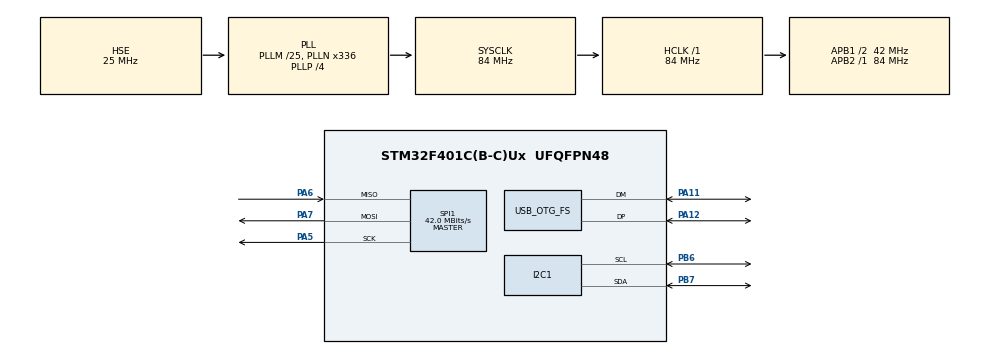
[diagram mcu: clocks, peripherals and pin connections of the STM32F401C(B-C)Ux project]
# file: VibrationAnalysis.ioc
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Dma.I2C1_RX.0.Direction=DMA_PERIPH_TO_MEMORY
Dma.I2C1_RX.0.FIFOMode=DMA_FIFOMODE_DISABLE
Dma.I2C1_RX.0.Instance=DMA1_Stream0
Dma.I2C1_RX.0.MemDataAlignment=DMA_MDATAALIGN_BYTE
Dma.I2C1_RX.0.MemInc=DMA_MINC_ENABLE
Dma.I2C1_RX.0.Mode=DMA_CIRCULAR
Dma.I2C1_RX.0.PeriphDataAlignment=DMA_PDATAALIGN_BYTE
Dma.I2C1_RX.0.PeriphInc=DMA_PINC_DISABLE
Dma.I2C1_RX.0.Priority=DMA_PRIORITY_LOW
Dma.I2C1_TX.2.Direction=DMA_MEMORY_TO_PERIPH
Dma.I2C1_TX.2.FIFOMode=DMA_FIFOMODE_DISABLE
Dma.I2C1_TX.2.Instance=DMA1_Stream6
Dma.I2C1_TX.2.MemDataAlignment=DMA_MDATAALIGN_BYTE
Dma.I2C1_TX.2.MemInc=DMA_MINC_ENABLE
Dma.I2C1_TX.2.Mode=DMA_NORMAL
Dma.I2C1_TX.2.PeriphDataAlignment=DMA_PDATAALIGN_BYTE
Dma.I2C1_TX.2.PeriphInc=DMA_PINC_DISABLE
Dma.I2C1_TX.2.Priority=DMA_PRIORITY_LOW
Dma.Request0=I2C1_RX
Dma.Request1=SPI1_RX
Dma.Request2=I2C1_TX
Dma.SPI1_RX.1.Direction=DMA_PERIPH_TO_MEMORY
Dma.SPI1_RX.1.FIFOMode=DMA_FIFOMODE_DISABLE
Dma.SPI1_RX.1.Instance=DMA2_Stream0
Dma.SPI1_RX.1.MemDataAlignment=DMA_MDATAALIGN_BYTE
Dma.SPI1_RX.1.MemInc=DMA_MINC_ENABLE
Dma.SPI1_RX.1.Mode=DMA_NORMAL
Dma.SPI1_RX.1.PeriphDataAlignment=DMA_PDATAALIGN_BYTE
Dma.SPI1_RX.1.PeriphInc=DMA_PINC_DISABLE
Dma.SPI1_RX.1.Priority=DMA_PRIORITY_LOW
I2C1.I2C_Mode=I2C_Fast
Mcu.Family=STM32F4
Mcu.Name=STM32F401C(B-C)Ux
Mcu.Package=UFQFPN48
NVIC.DMA1_Stream0_IRQn=true\:0\:0\:false\:false\:true\:false\:true
NVIC.DMA1_Stream6_IRQn=true\:0\:0\:false\:false\:true\:false\:true
NVIC.DMA2_Stream0_IRQn=true\:0\:0\:false\:false\:true\:false\:true
NVIC.I2C1_EV_IRQn=true\:0\:0\:false\:false\:true\:true\:true
NVIC.OTG_FS_IRQn=true\:0\:0\:false\:false\:true\:false\:true
NVIC.PriorityGroup=NVIC_PRIORITYGROUP_4
NVIC.TIM1_UP_TIM10_IRQn=true\:0\:0\:false\:false\:true\:true\:true
PA11.Mode=Device_Only
PA11.Signal=USB_OTG_FS_DM
PA12.Mode=Device_Only
PA12.Signal=USB_OTG_FS_DP
PA5.Mode=Full_Duplex_Master
PA5.Signal=SPI1_SCK
PA6.Mode=Full_Duplex_Master
PA6.Signal=SPI1_MISO
PA7.Mode=Full_Duplex_Master
PA7.Signal=SPI1_MOSI
PB6.Mode=I2C
PB6.Signal=I2C1_SCL
PB7.Mode=I2C
PB7.Signal=I2C1_SDA
PH0\ -\ OSC_IN.Mode=HSE-External-Oscillator
PH0\ -\ OSC_IN.Signal=RCC_OSC_IN
PH1\ -\ OSC_OUT.Mode=HSE-External-Oscillator
PH1\ -\ OSC_OUT.Signal=RCC_OSC_OUT
ProjectManager.HeapSize=0x1000
ProjectManager.StackSize=0x500
ProjectManager.TargetToolchain=STM32CubeIDE
RCC.48MHZClocksFreq_Value=48000000
RCC.AHBFreq_Value=84000000
RCC.APB1CLKDivider=RCC_HCLK_DIV2
RCC.APB1Freq_Value=42000000
RCC.APB1TimFreq_Value=84000000
RCC.APB2Freq_Value=84000000
RCC.APB2TimFreq_Value=84000000
RCC.CortexFreq_Value=84000000
RCC.HCLKFreq_Value=84000000
RCC.HSE_VALUE=25000000
RCC.HSI_VALUE=16000000
RCC.LSE_VALUE=32768
RCC.PLLM=25
RCC.PLLN=336
RCC.PLLP=RCC_PLLP_DIV4
RCC.PLLQ=7
RCC.SYSCLKFreq_VALUE=84000000
RCC.SYSCLKSource=RCC_SYSCLKSOURCE_PLLCLK
RCC.VCOOutputFreq_Value=336000000
SPI1.CalculateBaudRate=42.0 MBits/s
SPI1.Direction=SPI_DIRECTION_2LINES
SPI1.Mode=SPI_MODE_MASTER
SPI1.VirtualType=VM_MASTER
TIM1.Period=999
TIM1.Prescaler=84
USB_DEVICE.CLASS_NAME_FS=CDC
USB_DEVICE.LANGID_STRING=1031
USB_DEVICE.VirtualMode=Cdc
USB_DEVICE.VirtualModeFS=Cdc_FS
USB_OTG_FS.VirtualMode=Device_Only
VP_TIM1_VS_ClockSourceINT.Mode=Internal
VP_USB_DEVICE_VS_USB_DEVICE_CDC_FS.Mode=CDC_FS
board=custom

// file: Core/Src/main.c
/* USER CODE BEGIN Header */
/**
  ******************************************************************************
  * @file           : main.c
  * @brief          : Main program body
  ******************************************************************************
  * @attention
  *
  * <h2><center>&copy; Copyright (c) 2020 STMicroelectronics.
  * All rights reserved.</center></h2>
  *
  * This software component is licensed by ST under BSD 3-Clause license,
  * the "License"; You may not use this file except in compliance with the
  * License. You may obtain a copy of the License at:
  *                        opensource.org/licenses/BSD-3-Clause
  *
  ******************************************************************************
  */
/* USER CODE END Header */
#include "main.h"
#include "dma.h"
#include "i2c.h"
#include "spi.h"
#include "tim.h"
#include "usb_device.h"
#include "gpio.h"

/* USER CODE BEGIN Includes */
#include "lsm6ds3.h"
/* USER CODE END Includes */

/* USER CODE BEGIN PV */
uint8_t string[] = "Hello World!\n\r";
char buffer[50];
uint16_t data[2000];
uint16_t recdata[12];
uint16_t lsmaddr = LSM6DS3_ADDRESS << 1;
int16_t x_val;
int16_t y_val;
int16_t z_val;
int n;
/* USER CODE END PV */

void SystemClock_Config(void);

int main(void)
{

  /* MCU Configuration--------------------------------------------------------*/

  /* Reset of all peripherals, Initializes the Flash interface and the Systick. */
  HAL_Init();

  /* Configure the system clock */
  SystemClock_Config();

  /* Initialize all configured peripherals */
  MX_GPIO_Init();
  MX_DMA_Init();
  MX_I2C1_Init();
  MX_TIM1_Init();
  MX_USB_DEVICE_Init();
  MX_SPI1_Init();
  /* USER CODE BEGIN 2 */
  //HAL_Delay(5000);
  //HAL_I2C_Mem_Write(&hi2c1, lsmaddr, (uint16_t) 0x12, I2C_MEMADD_SIZE_8BIT, 0b00000100, 1, HAL_MAX_DELAY);
  HAL_I2C_Mem_Write(&hi2c1, lsmaddr, (uint16_t) LSM6DS3_CTRL1_XL, I2C_MEMADD_SIZE_8BIT, 0b10100000, 1, HAL_MAX_DELAY);
  HAL_Delay(100);
  /* USER CODE END 2 */

  /* Infinite loop */
  /* USER CODE BEGIN WHILE */
  while (1)
  {
	 /* HAL_I2C_Mem_Read(&hi2c1, lsmaddr, (uint16_t) LSM6DS3_OUTX_L_XL, I2C_MEMADD_SIZE_8BIT, &recdata, 1, HAL_MAX_DELAY);
	  x_val = (recdata[0] & 0xFF);
	  HAL_I2C_Mem_Read(&hi2c1, lsmaddr, (uint16_t) LSM6DS3_OUTX_H_XL, I2C_MEMADD_SIZE_8BIT, &recdata, 1, HAL_MAX_DELAY);
	  x_val = (recdata[0] << 8) | x_val;
	  HAL_I2C_Mem_Read(&hi2c1, lsmaddr, (uint16_t) LSM6DS3_OUTY_L_XL, I2C_MEMADD_SIZE_8BIT, &recdata, 1, HAL_MAX_DELAY);
	  y_val = (recdata[0] & 0xFF);
	  HAL_I2C_Mem_Read(&hi2c1, lsmaddr, (uint16_t) LSM6DS3_OUTY_H_XL, I2C_MEMADD_SIZE_8BIT, &recdata, 1, HAL_MAX_DELAY);
	  y_val = (recdata[0] << 8) | y_val;
	  HAL_I2C_Mem_Read(&hi2c1, lsmaddr, (uint16_t) LSM6DS3_OUTZ_L_XL, I2C_MEMADD_SIZE_8BIT, &recdata, 1, HAL_MAX_DELAY);
	  z_val = (recdata[0] & 0xFF);
	  HAL_I2C_Mem_Read(&hi2c1, lsmaddr, (uint16_t) LSM6DS3_OUTZ_H_XL, I2C_MEMADD_SIZE_8BIT, &recdata, 1, HAL_MAX_DELAY);
	  z_val = (recdata[0] << 8) | z_val;
	  n = sprintf(buffer, "individual: %d, %d, %d\n",x_val,y_val,z_val);
	  CDC_Transmit_FS(buffer, n);
	  HAL_Delay(300); */
	  HAL_I2C_Mem_Read(&hi2c1, lsmaddr, (uint16_t) LSM6DS3_OUTX_L_XL, I2C_MEMADD_SIZE_8BIT, &recdata, 6, HAL_MAX_DELAY);
	  x_val = (recdata[0] & 0xFF ) | ((recdata[1] << 8));
	  y_val = (recdata[2] & 0xFF ) | ((recdata[3] << 8));
	  z_val = (recdata[4] & 0xFF ) | ((recdata[5] << 8));
	  n = sprintf(buffer, "bulk: %d, %d, %d\n",x_val,y_val,z_val);
	  CDC_Transmit_FS(buffer, n);
	  HAL_Delay(300);
    /* USER CODE END WHILE */

  }
}

void SystemClock_Config(void)
{
  RCC_OscInitTypeDef RCC_OscInitStruct = {0};
  RCC_ClkInitTypeDef RCC_ClkInitStruct = {0};

  /** Configure the main internal regulator output voltage
  */
  __HAL_RCC_PWR_CLK_ENABLE();
  __HAL_PWR_VOLTAGESCALING_CONFIG(PWR_REGULATOR_VOLTAGE_SCALE2);
  /** Initializes the RCC Oscillators according to the specified parameters
  * in the RCC_OscInitTypeDef structure.
  */
  RCC_OscInitStruct.OscillatorType = RCC_OSCILLATORTYPE_HSE;
  RCC_OscInitStruct.HSEState = RCC_HSE_ON;
  RCC_OscInitStruct.PLL.PLLState = RCC_PLL_ON;
  RCC_OscInitStruct.PLL.PLLSource = RCC_PLLSOURCE_HSE;
  RCC_OscInitStruct.PLL.PLLM = 25;
  RCC_OscInitStruct.PLL.PLLN = 336;
  RCC_OscInitStruct.PLL.PLLP = RCC_PLLP_DIV4;
  RCC_OscInitStruct.PLL.PLLQ = 7;
  if (HAL_RCC_OscConfig(&RCC_OscInitStruct) != HAL_OK)
  {
    Error_Handler();
  }
  /** Initializes the CPU, AHB and APB buses clocks
  */
  RCC_ClkInitStruct.ClockType = RCC_CLOCKTYPE_HCLK|RCC_CLOCKTYPE_SYSCLK
                              |RCC_CLOCKTYPE_PCLK1|RCC_CLOCKTYPE_PCLK2;
  RCC_ClkInitStruct.SYSCLKSource = RCC_SYSCLKSOURCE_PLLCLK;
  RCC_ClkInitStruct.AHBCLKDivider = RCC_SYSCLK_DIV1;
  RCC_ClkInitStruct.APB1CLKDivider = RCC_HCLK_DIV2;
  RCC_ClkInitStruct.APB2CLKDivider = RCC_HCLK_DIV1;

  if (HAL_RCC_ClockConfig(&RCC_ClkInitStruct, FLASH_LATENCY_2) != HAL_OK)
  {
    Error_Handler();
  }
}

void Error_Handler(void)
{
}

/************************ (C) COPYRIGHT STMicroelectronics *****END OF FILE****/
